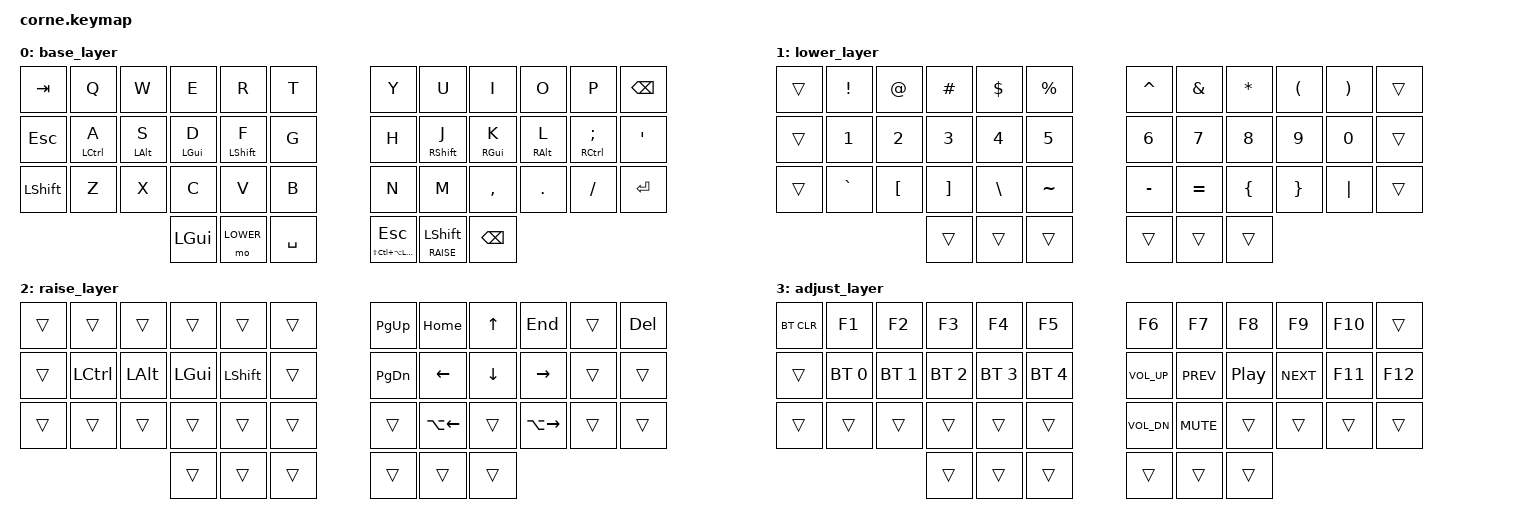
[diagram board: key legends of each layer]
/*
 * Corne v4 ZMK Configuration
 * Mac/Vim optimized with CAGS home row mods
 *
 * Features:
 * - Urob's "timeless" home row mods (280/175/150 timing)
 * - CAGS order: Ctrl-Alt-Gui-Shift (Cmd on middle finger for Mac)
 * - Hyper key: hold right inner thumb for Ctrl+Alt+Cmd+Shift
 * - Sticky shift on right middle thumb (tap), Raise layer (hold)
 * - Conditional adjust layer (Lower + Raise)
 * - Vim-style HJKL navigation on Raise layer
 *
 * Key Positions (for reference):
 * ╭─────────────────────────────────╮ ╭─────────────────────────────────╮
 * │  0  │  1  │  2  │  3  │  4  │  5  │ │  6  │  7  │  8  │  9  │ 10  │ 11  │
 * ├─────────────────────────────────┤ ├─────────────────────────────────┤
 * │ 12  │ 13  │ 14  │ 15  │ 16  │ 17  │ │ 18  │ 19  │ 20  │ 21  │ 22  │ 23  │
 * ├─────────────────────────────────┤ ├─────────────────────────────────┤
 * │ 24  │ 25  │ 26  │ 27  │ 28  │ 29  │ │ 30  │ 31  │ 32  │ 33  │ 34  │ 35  │
 * ╰─────────────────────────────────╯ ╰─────────────────────────────────╯
 *                    │ 36  │ 37  │ 38  │ │ 39  │ 40  │ 41  │
 *                    ╰─────────────────╯ ╰─────────────────╯
 */

#include <behaviors.dtsi>
#include <dt-bindings/zmk/keys.h>
#include <dt-bindings/zmk/bt.h>

#define BASE 0
#define LOWER 1
#define RAISE 2
#define ADJUST 3

// Key position groups for positional hold-tap
#define KEYS_L 0 1 2 3 4 5 12 13 14 15 16 17 24 25 26 27 28 29
#define KEYS_R 6 7 8 9 10 11 18 19 20 21 22 23 30 31 32 33 34 35
#define THUMBS 36 37 38 39 40 41


/ {
    behaviors {
        // Urob's "timeless" home row mods - left hand
        hml: home_row_mod_left {
            compatible = "zmk,behavior-hold-tap";
            #binding-cells = <2>;
            flavor = "balanced";
            tapping-term-ms = <280>;
            quick-tap-ms = <175>;
            require-prior-idle-ms = <150>;
            bindings = <&kp>, <&kp>;
            hold-trigger-key-positions = <KEYS_R THUMBS>;
            hold-trigger-on-release;
        };

        // Urob's "timeless" home row mods - right hand
        hmr: home_row_mod_right {
            compatible = "zmk,behavior-hold-tap";
            #binding-cells = <2>;
            flavor = "balanced";
            tapping-term-ms = <280>;
            quick-tap-ms = <175>;
            require-prior-idle-ms = <150>;
            bindings = <&kp>, <&kp>;
            hold-trigger-key-positions = <KEYS_L THUMBS>;
            hold-trigger-on-release;
        };

        // Hyper key: hold for Ctrl+Alt+Cmd+Shift, tap for Esc
        ht_hp: hold_tap_hyper {
            compatible = "zmk,behavior-hold-tap";
            #binding-cells = <2>;
            flavor = "balanced";
            tapping-term-ms = <200>;
            quick-tap-ms = <175>;
            bindings = <&kp>, <&kp>;
        };

        // Layer-tap for Raise: hold for layer, tap for sticky shift
        lt_rs: layer_tap_raise_shift {
            compatible = "zmk,behavior-hold-tap";
            #binding-cells = <2>;
            flavor = "balanced";
            tapping-term-ms = <200>;
            quick-tap-ms = <175>;
            bindings = <&mo>, <&sk>;
        };

        // Smart shift: tap = sticky shift, hold = shift, double-tap = caps_word
        smart_shft: smart_shift {
            compatible = "zmk,behavior-mod-morph";
            #binding-cells = <0>;
            bindings = <&sk LSHFT>, <&caps_word>;
            mods = <(MOD_LSFT)>;
        };
    };

    // Sticky key configuration
    &sk {
        release-after-ms = <1000>;
        quick-release;
    };

    conditional_layers {
        compatible = "zmk,conditional-layers";

        // Adjust layer activates when both Lower and Raise are held
        adjust_layer {
            if-layers = <LOWER RAISE>;
            then-layer = <ADJUST>;
        };
    };

    keymap {
        compatible = "zmk,keymap";

        /*
         * Base Layer (QWERTY with CAGS home row mods)
         * ╭─────────────────────────────────╮ ╭─────────────────────────────────╮
         * │ TAB │  Q  │  W  │  E  │  R  │  T  │ │  Y  │  U  │  I  │  O  │  P  │BSPC │
         * ├─────────────────────────────────┤ ├─────────────────────────────────┤
         * │ ESC │CT/A │OP/S │CM/D │SH/F │  G  │ │  H  │SH/J │CM/K │OP/L │CT/; │  '  │
         * ├─────────────────────────────────┤ ├─────────────────────────────────┤
         * │SHFT │  Z  │  X  │  C  │  V  │  B  │ │  N  │  M  │  ,  │  .  │  /  │ RET │
         * ╰─────────────────────────────────╯ ╰─────────────────────────────────╯
         *                    │ GUI │LOWER│ SPC │ │ ESC │SHFT │BSPC │
         *                    │     │     │     │ │/HYP │/RSE │     │
         *                    ╰─────────────────╯ ╰─────────────────╯
         */
        base_layer {
            bindings = <
&kp TAB   &kp Q       &kp W       &kp E       &kp R       &kp T         &kp Y  &kp U       &kp I       &kp O       &kp P          &kp BSPC
&kp ESC   &hml LCTRL A &hml LALT S &hml LGUI D &hml LSHFT F &kp G       &kp H  &hmr RSHFT J &hmr RGUI K &hmr RALT L &hmr RCTRL SEMI &kp SQT
&kp LSHFT &kp Z       &kp X       &kp C       &kp V       &kp B         &kp N  &kp M       &kp COMMA   &kp DOT     &kp FSLH       &kp RET
                                  &kp LGUI    &mo LOWER   &kp SPACE     &ht_hp LS(LC(LA(LGUI))) ESC  &lt_rs RAISE LSHFT  &kp BSPC
            >;
        };

        /*
         * Lower Layer (Numbers & Symbols)
         * ╭─────────────────────────────────╮ ╭─────────────────────────────────╮
         * │     │  !  │  @  │  #  │  $  │  %  │ │  ^  │  &  │  *  │  (  │  )  │     │
         * ├─────────────────────────────────┤ ├─────────────────────────────────┤
         * │     │  1  │  2  │  3  │  4  │  5  │ │  6  │  7  │  8  │  9  │  0  │     │
         * ├─────────────────────────────────┤ ├─────────────────────────────────┤
         * │     │  `  │  [  │  ]  │  \  │  ~  │ │  -  │  =  │  {  │  }  │  |  │     │
         * ╰─────────────────────────────────╯ ╰─────────────────────────────────╯
         *                    │     │     │     │ │     │     │     │
         *                    ╰─────────────────╯ ╰─────────────────╯
         */
        lower_layer {
            bindings = <
&trans &kp EXCL  &kp AT   &kp HASH &kp DLLR &kp PRCNT   &kp CARET &kp AMPS  &kp STAR &kp LPAR &kp RPAR &trans
&trans &kp N1    &kp N2   &kp N3   &kp N4   &kp N5      &kp N6    &kp N7    &kp N8   &kp N9   &kp N0   &trans
&trans &kp GRAVE &kp LBKT &kp RBKT &kp BSLH &kp TILDE   &kp MINUS &kp EQUAL &kp LBRC &kp RBRC &kp PIPE &trans
                          &trans   &trans   &trans      &trans    &trans    &trans
            >;
        };

        /*
         * Raise Layer (Navigation - Vim HJKL style)
         * ╭─────────────────────────────────╮ ╭─────────────────────────────────╮
         * │     │     │     │     │     │     │ │PgUp │Home │  ↑  │ End │     │ Del │
         * ├─────────────────────────────────┤ ├─────────────────────────────────┤
         * │     │Ctrl │ Opt │ Cmd │Shift│     │ │PgDn │  ←  │  ↓  │  →  │     │     │
         * ├─────────────────────────────────┤ ├─────────────────────────────────┤
         * │     │     │     │     │     │     │ │     │ W←  │     │ W→  │     │     │
         * ╰─────────────────────────────────╯ ╰─────────────────────────────────╯
         *                    │     │     │     │ │     │     │     │
         *                    ╰─────────────────╯ ╰─────────────────╯
         */
        raise_layer {
            bindings = <
&trans &trans    &trans   &trans   &trans    &trans      &kp PG_UP    &kp HOME       &kp UP   &kp END        &trans &kp DEL
&trans &kp LCTRL &kp LALT &kp LGUI &kp LSHFT &trans      &kp PG_DN    &kp LEFT       &kp DOWN &kp RIGHT      &trans &trans
&trans &trans    &trans   &trans   &trans    &trans      &trans       &kp LA(LEFT)   &trans   &kp LA(RIGHT)  &trans &trans
                          &trans   &trans    &trans      &trans       &trans         &trans
            >;
        };

        /*
         * Adjust Layer (F-keys, Bluetooth, Media)
         * Activated by holding both Lower and Raise
         * ╭─────────────────────────────────╮ ╭─────────────────────────────────╮
         * │BTCLR│ F1  │ F2  │ F3  │ F4  │ F5  │ │ F6  │ F7  │ F8  │ F9  │ F10 │     │
         * ├─────────────────────────────────┤ ├─────────────────────────────────┤
         * │     │ BT0 │ BT1 │ BT2 │ BT3 │ BT4 │ │Vol+ │Prev │Play │Next │ F11 │ F12 │
         * ├─────────────────────────────────┤ ├─────────────────────────────────┤
         * │     │     │     │     │     │     │ │Vol- │Mute │     │     │     │     │
         * ╰─────────────────────────────────╯ ╰─────────────────────────────────╯
         *                    │     │     │     │ │     │     │     │
         *                    ╰─────────────────╯ ╰─────────────────╯
         */
        adjust_layer {
            bindings = <
&bt BT_CLR &kp F1       &kp F2       &kp F3       &kp F4       &kp F5       &kp F6       &kp F7     &kp F8   &kp F9     &kp F10 &trans
&trans     &bt BT_SEL 0 &bt BT_SEL 1 &bt BT_SEL 2 &bt BT_SEL 3 &bt BT_SEL 4 &kp C_VOL_UP &kp C_PREV &kp C_PP &kp C_NEXT &kp F11 &kp F12
&trans     &trans       &trans       &trans       &trans       &trans       &kp C_VOL_DN &kp C_MUTE &trans   &trans     &trans  &trans
                                     &trans       &trans       &trans       &trans       &trans     &trans
            >;
        };
    };
};
